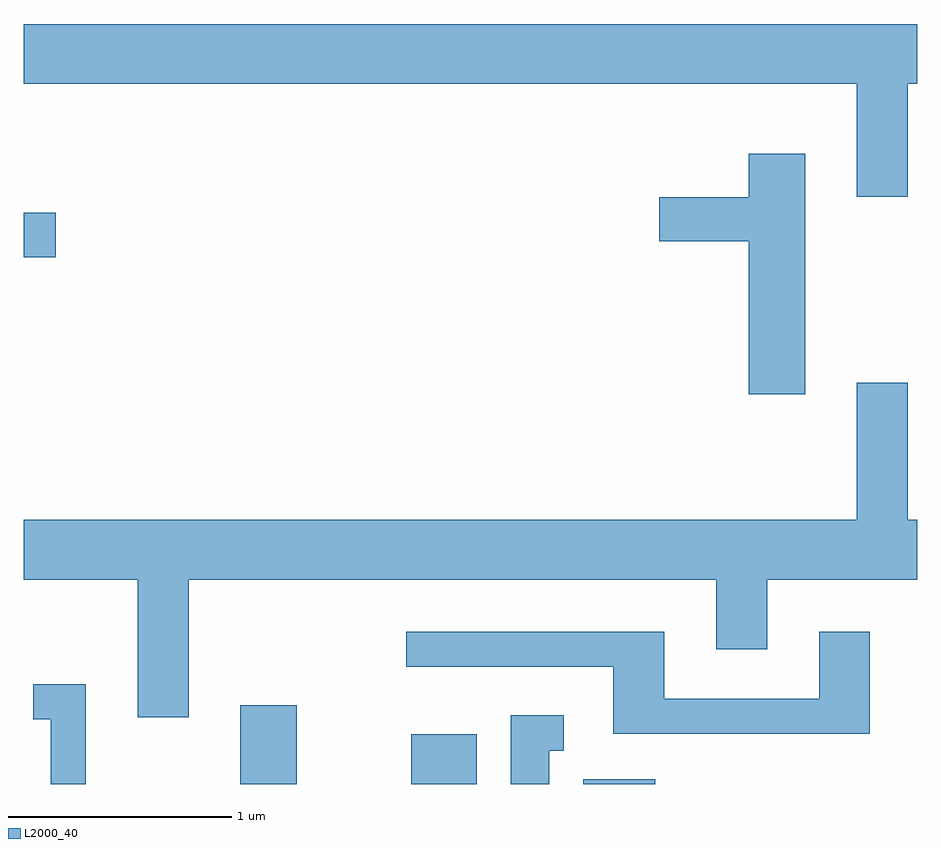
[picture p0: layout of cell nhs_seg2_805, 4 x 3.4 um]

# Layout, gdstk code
import gdstk
lib = gdstk.Library(unit=1e-6, precision=1e-09)
def R(c, l, rs):  # rectangles x0, y0, x1, y1
    for r in rs: c.add(gdstk.rectangle(r[:2], r[2:], *l))
def P(c, l, *ps):  # polygons
    for p in ps: c.add(gdstk.Polygon(p, *l))
L2000_40 = (2000, 40)

nhs_seg2_805 = lib.new_cell('nhs_seg2_805')
R(nhs_seg2_805, L2000_40, [(208.581,1091.802,208.834,1092.154), (209.346,1091.802,209.639,1092.024), (210.116,1091.802,210.439,1091.824), (207.611,1094.161,207.754,1094.359)])
P(nhs_seg2_805, L2000_40, [(211.569,1094.936),(211.611,1094.936),(211.611,1095.204),(207.611,1095.204),(207.611,1094.936),(211.341,1094.936),(211.341,1094.431),(211.569,1094.431)],
  [(211.109,1094.624),(210.856,1094.624),(210.856,1094.429),(210.456,1094.429),(210.456,1094.231),(210.856,1094.231),(210.856,1093.546),(211.109,1093.546)],
  [(208.349,1092.716),(210.711,1092.716),(210.711,1092.406),(210.939,1092.406),(210.939,1092.716),(211.611,1092.716),(211.611,1092.984),(211.569,1092.984),(211.569,1093.599),(211.341,1093.599),(211.341,1092.984),(207.611,1092.984),(207.611,1092.716),(208.121,1092.716),(208.121,1092.101),(208.349,1092.101)],
  [(211.399,1092.484),(211.171,1092.484),(211.171,1092.184),(210.479,1092.184),(210.479,1092.484),(209.323,1092.484),(209.323,1092.326),(210.251,1092.326),(210.251,1092.026),(211.399,1092.026)],
  [(207.889,1092.249),(207.653,1092.249),(207.653,1092.091),(207.731,1092.091),(207.731,1091.802),(207.889,1091.802)],
  [(209.964,1091.951),(210.028,1091.951),(210.028,1092.109),(209.791,1092.109),(209.791,1091.802),(209.964,1091.802)])

lib.write_gds('nhs_seg2_805.gds')
